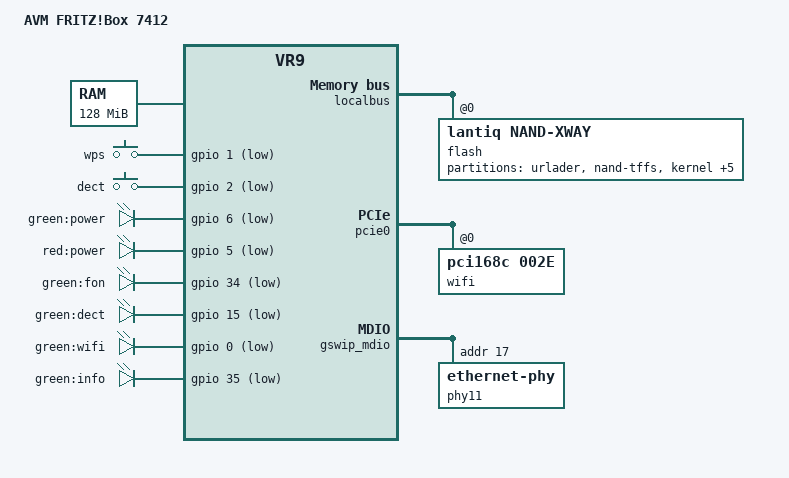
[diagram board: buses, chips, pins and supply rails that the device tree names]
// SPDX-License-Identifier: GPL-2.0-or-later OR MIT

#include "vr9.dtsi"

#include <dt-bindings/input/input.h>
#include <dt-bindings/mips/lantiq_rcu_gphy.h>

/ {
	compatible = "avm,fritz7412", "lantiq,xway", "lantiq,vr9";
	model = "AVM FRITZ!Box 7412";

	chosen {
		bootargs = "console=ttyLTQ0,115200";
	};

	aliases {
		led-boot = &power_green;
		led-failsafe = &power_red;
		led-running = &power_green;
		led-upgrade = &power_red;

		led-dsl = &info;
		led-wifi = &wifi;
	};

	memory@0 {
		device_type = "memory";
		reg = <0x0 0x8000000>;
	};

	keys {
		compatible = "gpio-keys-polled";
		poll-interval = <100>;

		wps {
			label = "wps";
			gpios = <&gpio 1 GPIO_ACTIVE_LOW>;
			linux,code = <KEY_WPS_BUTTON>;
		};

		dect {
			label = "dect";
			gpios = <&gpio 2 GPIO_ACTIVE_LOW>;
			linux,code = <KEY_PHONE>;
		};
	};

	leds {
		compatible = "gpio-leds";

		power_green: power_green {
			label = "green:power";
			gpios = <&gpio 6 GPIO_ACTIVE_LOW>;
			default-state = "keep";
		};

		power_red: power_red {
			label = "red:power";
			gpios = <&gpio 5 GPIO_ACTIVE_LOW>;
		};

		fon {
			label = "green:fon";
			gpios = <&gpio 34 GPIO_ACTIVE_LOW>;
		};

		dect {
			label = "green:dect";
			gpios = <&gpio 15 GPIO_ACTIVE_LOW>;
		};

		wifi: wifi {
			label = "green:wifi";
			gpios = <&gpio 0 GPIO_ACTIVE_LOW>;
		};

		info: info {
			label = "green:info";
			gpios = <&gpio 35 GPIO_ACTIVE_LOW>;
		};
	};
};

&localbus {
	flash@0 {
		compatible = "lantiq,nand-xway";
		bank-width = <2>;
		reg = <0 0x0 0x2000000>;
		lantiq,cs = <1>;

		pinctrl-0 = <&nand_pins>, <&nand_cs1_pins>;
		pinctrl-names = "default";

		nand-use-soft-ecc-engine;

		partitions {
			compatible = "fixed-partitions";
			#address-cells = <1>;
			#size-cells = <1>;

			partition@0 {
				label = "urlader";
				reg = <0x0 0x40000>;
				read-only;
			};

			partition@40000 {
				label = "nand-tffs";
				reg = <0x40000 0x400000>;
				read-only;
			};

			partition@440000 {
				label = "kernel";
				reg = <0x440000 0x400000>;
			};

			partition@840000 {
				label = "ubi";
				reg = <0x840000 0x3000000>;
			};

			partition@3840000 {
				label = "reserved-kernel";
				reg = <0x3840000 0x400000>;
				read-only;
			};

			partition@3c40000 {
				label = "reserved-filesystem";
				reg = <0x3c40000 0x3000000>;
				read-only;
			};

			partition@6c40000 {
				label = "config";
				reg = <0x6c40000 0x400000>;
				read-only;
			};

			partition@6e40000 {
				label = "nand-filesystem";
				reg = <0x6e40000 0x400000>;
				read-only;
			};
		};
	};
};

&pcie0 {
	status = "okay";
	gpio-reset = <&gpio 11 GPIO_ACTIVE_HIGH>;

	pcie@0 {
		reg = <0 0 0 0 0>;
		#interrupt-cells = <1>;
		#size-cells = <2>;
		#address-cells = <3>;
		device_type = "pci";

		wifi@168c,002e {
			compatible = "pci168c,002e";
			reg = <0 0 0 0 0>;
			qca,no-eeprom; /* load from ath9k-eeprom-pci-0000:01:00.0.bin */
		};
	};
};

&gpio {
	pinctrl-names = "default";
	pinctrl-0 = <&state_default>;

	state_default: pinmux {
		pcie-rst {
			lantiq,pins = "io11";
			lantiq,open-drain = <1>;
			lantiq,output = <1>;
		};
	};
};

&gphy0 {
	lantiq,gphy-mode = <GPHY_MODE_FE>;
};

&gswip_mdio {
	phy11: ethernet-phy@11 {
		reg = <0x11>;
	};
};

&gswip_ports {
	port@2 {
		reg = <2>;
		label = "lan";
		phy-mode = "internal";
		phy-handle = <&phy11>;
	};
};
